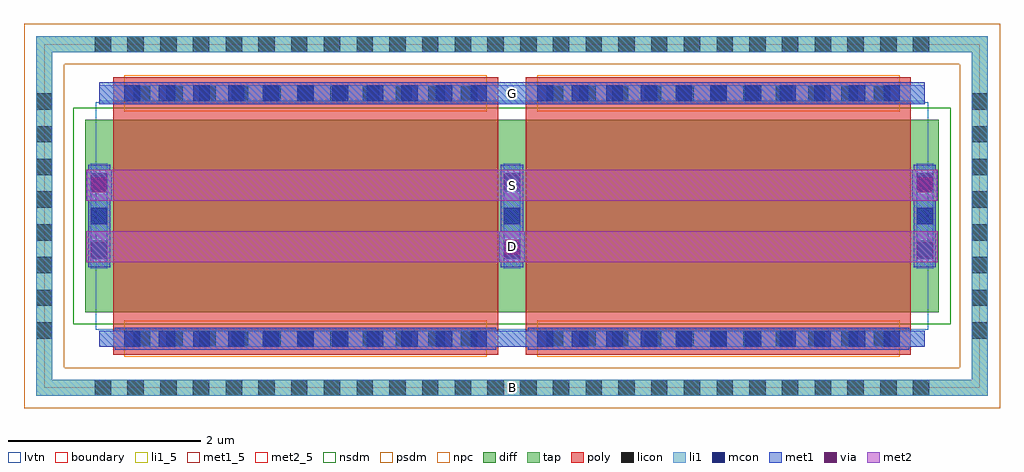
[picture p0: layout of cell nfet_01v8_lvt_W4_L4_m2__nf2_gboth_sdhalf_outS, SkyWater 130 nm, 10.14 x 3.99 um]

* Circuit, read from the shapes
.subckt nfet_01v8_lvt_W4_L4_m2__nf2_gboth_sdhalf_outS B D G S
XM1 D G S B sky130_fd_pr__nfet_01v8_lvt w=2 l=4 m=2
.ends

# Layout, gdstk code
import gdstk
lib = gdstk.Library(unit=1e-6, precision=1e-09)
def R(c, l, rs):  # rectangles x0, y0, x1, y1
    for r in rs: c.add(gdstk.rectangle(r[:2], r[2:], *l))
def A(c, l, x, y, w, h, nx, ny, dx, dy):  # array of equal rectangles
    R(c, l, [(x+i*dx, y+j*dy, x+i*dx+w, y+j*dy+h) for i in range(nx) for j in range(ny)])
diff = (65, 20)
tap = (65, 44)
poly = (66, 20)
licon = (66, 44)
li1_5 = (67, 5)
li1 = (67, 20)
mcon = (67, 44)
met1_5 = (68, 5)
met1 = (68, 20)
via = (68, 44)
met2_5 = (69, 5)
met2 = (69, 20)
nsdm = (93, 44)
psdm = (94, 20)
npc = (95, 20)
lvtn = (125, 44)
boundary = (235, 4)

sky130_fd_pr__nfet_01v8_ = lib.new_cell('sky130_fd_pr__nfet_01v8_lvt_4SEBWV')
R(sky130_fd_pr__nfet_01v8_, diff, [(-4.435,-1,4.435,1)])
R(sky130_fd_pr__nfet_01v8_, tap, [(-4.945,-1.87,4.945,-1.7), (-4.945,-1.7,-4.775,1.7), (4.775,-1.7,4.945,1.7), (-4.945,1.7,4.945,1.87)])
R(sky130_fd_pr__nfet_01v8_, poly, [(-4.145,-1.44,-0.145,1.44), (0.145,-1.44,4.145,1.44)])
A(sky130_fd_pr__nfet_01v8_, licon, -4.335, -1.87, 0.17, 0.17, 26, 2, 0.34, 3.57)
A(sky130_fd_pr__nfet_01v8_, licon, -3.93, -1.36, 0.17, 0.17, 11, 2, 0.34, 2.55)
A(sky130_fd_pr__nfet_01v8_, licon, 0.36, -1.36, 0.17, 0.17, 11, 2, 0.34, 2.55)
A(sky130_fd_pr__nfet_01v8_, licon, -4.945, -1.275, 0.17, 0.17, 1, 8, 0, 0.34)
A(sky130_fd_pr__nfet_01v8_, licon, 4.775, -1.275, 0.17, 0.17, 1, 8, 0, 0.34)
A(sky130_fd_pr__nfet_01v8_, licon, -4.375, -0.425, 0.17, 0.17, 3, 3, 4.29, 0.34)
A(sky130_fd_pr__nfet_01v8_, li1, -4.375, -0.55, 0.17, 1.1, 3, 1, 4.29, 0)
R(sky130_fd_pr__nfet_01v8_, li1, [(-4.945,-1.87,4.945,-1.7), (-4.945,-1.7,-4.775,1.7), (4.775,-1.7,4.945,1.7), (-4.29,-1.36,4.29,-1.19), (-4.29,1.19,4.29,1.36), (-4.945,1.7,4.945,1.87)])
A(sky130_fd_pr__nfet_01v8_, mcon, -4.03, -1.36, 0.17, 0.17, 11, 2, 0.36, 2.55)
A(sky130_fd_pr__nfet_01v8_, mcon, 0.26, -1.36, 0.17, 0.17, 11, 2, 0.36, 2.55)
A(sky130_fd_pr__nfet_01v8_, mcon, -4.375, -0.445, 0.17, 0.17, 3, 3, 4.29, 0.36)
A(sky130_fd_pr__nfet_01v8_, met1, -4.405, -0.53, 0.23, 1.06, 3, 1, 4.29, 0)
R(sky130_fd_pr__nfet_01v8_, met1, [(-4.125,-1.39,-0.165,-1.36), (0.165,-1.39,4.125,-1.36), (-4.29,-1.36,4.29,-1.19), (-4.125,-1.19,-0.165,-1.16), (0.165,-1.19,4.125,-1.16), (-4.125,1.16,-0.165,1.19), (0.165,1.16,4.125,1.19), (-4.29,1.19,4.29,1.36), (-4.125,1.36,-0.165,1.39), (0.165,1.36,4.125,1.39)])
R(sky130_fd_pr__nfet_01v8_, nsdm, [(-4.56,-1.125,4.56,1.125)])
R(sky130_fd_pr__nfet_01v8_, psdm, [(-5.07,-1.995,5.07,-1.575), (-5.07,-1.575,-4.65,1.575), (4.65,-1.575,5.07,1.575), (-5.07,1.575,5.07,1.995)])
R(sky130_fd_pr__nfet_01v8_, npc, [(-4.03,-1.46,-0.26,-1.09), (0.26,-1.46,4.03,-1.09), (-4.03,1.09,-0.26,1.46), (0.26,1.09,4.03,1.46)])
R(sky130_fd_pr__nfet_01v8_, lvtn, [(-4.325,-1.18,4.325,1.18)])
R(sky130_fd_pr__nfet_01v8_, boundary, [(-4.86,-1.785,4.86,1.785)])
sky130_fd_pr__nfet_01v8_.add(gdstk.Label('B', (0,-1.785), layer=67, texttype=5))
sky130_fd_pr__nfet_01v8_.add(gdstk.Label('D0', (-4.29,0), layer=67, texttype=5))
sky130_fd_pr__nfet_01v8_.add(gdstk.Label('G', (2.145,1.275), layer=67, texttype=5))
sky130_fd_pr__nfet_01v8_.add(gdstk.Label('G', (-2.145,1.275), layer=67, texttype=5))
sky130_fd_pr__nfet_01v8_.add(gdstk.Label('S1', (0,0), layer=67, texttype=5))

nfet_01v8_lvt_w4_l4_m2__ = lib.new_cell('nfet_01v8_lvt_W4_L4_m2__nf2_gboth_sdhalf_outS')
R(nfet_01v8_lvt_w4_l4_m2__, li1_5, [(4.775,-0.085,4.945,0.085)])
R(nfet_01v8_lvt_w4_l4_m2__, li1, [(4.775,-0.085,4.945,0.085)])
R(nfet_01v8_lvt_w4_l4_m2__, met1_5, [(0.57,2.945,9.15,3.175)])
R(nfet_01v8_lvt_w4_l4_m2__, met1, [(4.73,1.305,4.99,1.625), (0.44,1.945,0.7,2.265), (9.02,1.945,9.28,2.265), (0.57,2.945,9.15,3.175)])
R(nfet_01v8_lvt_w4_l4_m2__, via, [(4.785,1.39,4.935,1.54), (0.495,2.03,0.645,2.18), (9.075,2.03,9.225,2.18)])
R(nfet_01v8_lvt_w4_l4_m2__, met2_5, [(0.435,1.305,9.285,1.625), (0.435,1.945,9.285,2.265)])
R(nfet_01v8_lvt_w4_l4_m2__, met2, [(0.435,1.305,9.285,1.625), (0.435,1.945,9.285,2.265)])
nfet_01v8_lvt_w4_l4_m2__.add(gdstk.Reference(sky130_fd_pr__nfet_01v8_, (4.86,1.785)))
nfet_01v8_lvt_w4_l4_m2__.add(gdstk.Label('S', (4.86,2.105), layer=69, texttype=5))
nfet_01v8_lvt_w4_l4_m2__.add(gdstk.Label('D', (4.86,1.465), layer=69, texttype=5))
nfet_01v8_lvt_w4_l4_m2__.add(gdstk.Label('G', (4.86,3.06), layer=68, texttype=5))
nfet_01v8_lvt_w4_l4_m2__.add(gdstk.Label('B', (4.86,0), layer=67, texttype=5))

lib.write_gds('nfet_01v8_lvt_W4_L4_m2__nf2_gboth_sdhalf_outS.gds')
